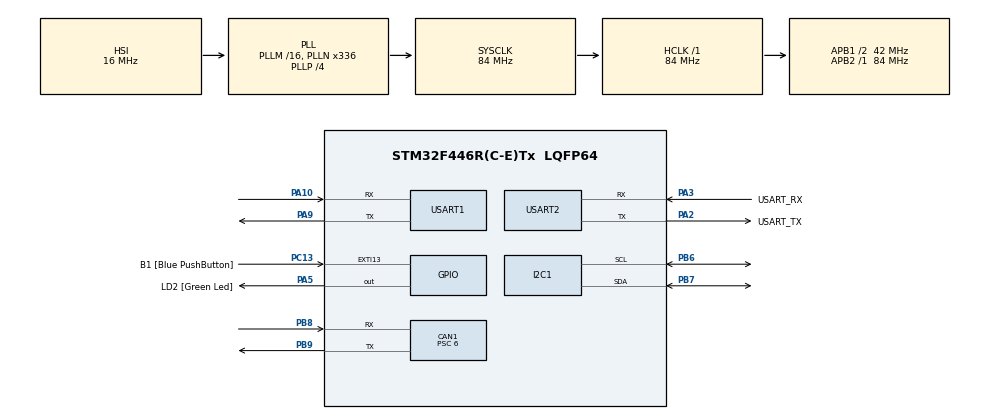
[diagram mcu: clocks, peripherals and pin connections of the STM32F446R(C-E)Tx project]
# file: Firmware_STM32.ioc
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CAN1.BS1=CAN_BS1_11TQ
CAN1.BS2=CAN_BS2_2TQ
CAN1.CalculateBaudRate=500000
CAN1.CalculateTimeBit=2000
CAN1.CalculateTimeQuantum=142.85714285714286
CAN1.Prescaler=6
Mcu.Family=STM32F4
Mcu.Name=STM32F446R(C-E)Tx
Mcu.Package=LQFP64
NVIC.PriorityGroup=NVIC_PRIORITYGROUP_0
NVIC.USART1_IRQn=true\:0\:0\:false\:false\:true\:true\:true\:true
PA10.Mode=Asynchronous
PA10.Signal=USART1_RX
PA13.GPIO_Label=TMS
PA13.Mode=Serial_Wire
PA13.Signal=SYS_JTMS-SWDIO
PA14.GPIO_Label=TCK
PA14.Mode=Serial_Wire
PA14.Signal=SYS_JTCK-SWCLK
PA2.GPIO_Label=USART_TX
PA2.Mode=Asynchronous
PA2.Signal=USART2_TX
PA3.GPIO_Label=USART_RX
PA3.Mode=Asynchronous
PA3.Signal=USART2_RX
PA5.GPIO_Label=LD2 [Green Led]
PA5.Signal=GPIO_Output
PA9.Mode=Asynchronous
PA9.Signal=USART1_TX
PB3.GPIO_Label=SWO
PB3.Signal=SYS_JTDO-SWO
PB6.Mode=I2C
PB6.Signal=I2C1_SCL
PB7.Mode=I2C
PB7.Signal=I2C1_SDA
PB8.Mode=CAN_Activate
PB8.Signal=CAN1_RX
PB9.Mode=CAN_Activate
PB9.Signal=CAN1_TX
PC13.GPIO_Label=B1 [Blue PushButton]
PC13.GPIO_ModeDefaultEXTI=GPIO_MODE_IT_FALLING
PC13.Signal=GPXTI13
PC14-OSC32_IN.Mode=LSE-External-Oscillator
PC14-OSC32_IN.Signal=RCC_OSC32_IN
PC15-OSC32_OUT.Mode=LSE-External-Oscillator
PC15-OSC32_OUT.Signal=RCC_OSC32_OUT
PH0-OSC_IN.Mode=HSE-External-Oscillator
PH0-OSC_IN.Signal=RCC_OSC_IN
PH1-OSC_OUT.Mode=HSE-External-Oscillator
PH1-OSC_OUT.Signal=RCC_OSC_OUT
ProjectManager.HeapSize=0x200
ProjectManager.StackSize=0x400
ProjectManager.TargetToolchain=STM32CubeIDE
RCC.48MHZClocksFreq_Value=84000000
RCC.AHBFreq_Value=84000000
RCC.APB1CLKDivider=RCC_HCLK_DIV2
RCC.APB1Freq_Value=42000000
RCC.APB1TimFreq_Value=84000000
RCC.APB2Freq_Value=84000000
RCC.APB2TimFreq_Value=84000000
RCC.CortexFreq_Value=84000000
RCC.FLatency-AdvancedSettings=FLASH_LATENCY_2
RCC.HCLKFreq_Value=84000000
RCC.HSE_VALUE=8000000
RCC.HSI_VALUE=16000000
RCC.PLLN=336
RCC.PLLP=RCC_PLLP_DIV4
RCC.SYSCLKFreq_VALUE=84000000
RCC.SYSCLKSource=RCC_SYSCLKSOURCE_PLLCLK
RCC.USBFreq_Value=168000000
RCC.VCOOutputFreq_Value=336000000
USART1.VirtualMode=VM_ASYNC
USART2.VirtualMode=VM_ASYNC
board=NUCLEO-F446RE

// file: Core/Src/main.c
/* USER CODE BEGIN Header */
/**
  ******************************************************************************
  * @file           : main.c
  * @brief          : Main program body
  ******************************************************************************
  * @attention
  *
  * Copyright (c) 2025 STMicroelectronics.
  * All rights reserved.
  *
  * This software is licensed under terms that can be found in the LICENSE file
  * in the root directory of this software component.
  * If no LICENSE file comes with this software, it is provided AS-IS.
  *
  ******************************************************************************
  */
/* USER CODE END Header */
#include "main.h"
#include "can.h"
#include "i2c.h"
#include "usart.h"
#include "gpio.h"

/* USER CODE BEGIN Includes */
#include <stdio.h>
#include <string.h>
#include <math.h>
#include "bmp280.h"
#include "mpu9250.h"
#include "stepper.h"
/* USER CODE END Includes */

/* USER CODE BEGIN PV */
uint8_t rxByte;
char rxBuffer[32];
uint8_t rxIndex = 0;
float K_coeff = 1.0f;
/* USER CODE END PV */

void SystemClock_Config(void);
/* USER CODE BEGIN PFP */
void ProcessCommand(void);
/* USER CODE END PFP */

/* USER CODE BEGIN 0 */
int __io_putchar(int ch)
{
	HAL_UART_Transmit(&huart2, (uint8_t*)&ch, 1, HAL_MAX_DELAY);
	return ch;
}

void HAL_UART_RxCpltCallback(UART_HandleTypeDef *huart)
{
  if (huart->Instance == USART1)
  {
    if (rxByte == '\n' || rxByte == '\r')
    {
      rxBuffer[rxIndex] = '\0';
      if (rxIndex > 0)
      {
    	  printf("CMD->%s\r\n",rxBuffer);
    	  ProcessCommand();
      }
      rxIndex = 0;
    }
    else
    {
      if (rxIndex < 31)
      {
        rxBuffer[rxIndex++] = (char)rxByte;
      }
    }
    HAL_UART_Receive_IT(&huart1, &rxByte, 1);
  }
}

void ProcessCommand(void)
{
	char txBuffer[64];
	float temp, press;

	if (strcmp(rxBuffer, "GET_T") == 0)
	{
		BMP280_ReadTemperaturePressure(&temp, &press);
		sprintf(txBuffer, "T=%+06.2f_C\r\n", temp);
		printf(txBuffer);
		HAL_UART_Transmit(&huart1, (uint8_t*)txBuffer, strlen(txBuffer), 100);
	}
	else if (strcmp(rxBuffer, "GET_P") == 0)
	{
		BMP280_ReadTemperaturePressure(&temp, &press);
		sprintf(txBuffer, "P=%06.0fPa\r\n", press);
		printf(txBuffer);
		HAL_UART_Transmit(&huart1, (uint8_t*)txBuffer, strlen(txBuffer), 100);
	}
	else if (strncmp(rxBuffer, "SET_K=", 6) == 0)
	{
		int k_val;
		if (sscanf(rxBuffer + 6, "%d", &k_val) == 1)
		{
			K_coeff = k_val / 100.0f;
			sprintf(txBuffer, "SET_K=OK\r\n");
		}
		else
		{
			sprintf(txBuffer, "SET_K=ERR\r\n");
		}
		printf(txBuffer);
		HAL_UART_Transmit(&huart1, (uint8_t*)txBuffer, strlen(txBuffer), 100);
	}
	else if (strcmp(rxBuffer, "GET_K") == 0)
	{
		sprintf(txBuffer, "K=%08.5f\r\n", K_coeff);
		printf(txBuffer);
		HAL_UART_Transmit(&huart1, (uint8_t*)txBuffer, strlen(txBuffer), 100);
	}
	else if (strcmp(rxBuffer, "GET_A") == 0)
	{
		MPU9250_Data mpu;
		MPU9250_ReadAccel(&mpu);
		float angle = atan2f(mpu.Accel_X, sqrtf(mpu.Accel_Y * mpu.Accel_Y + mpu.Accel_Z * mpu.Accel_Z)) * 180.0f / 3.14159f;
		sprintf(txBuffer, "A=%08.4f\r\n", angle);
		printf(txBuffer);
		HAL_UART_Transmit(&huart1, (uint8_t*)txBuffer, strlen(txBuffer), 100);
	}
}
/* USER CODE END 0 */

int main(void)
{

  /* USER CODE BEGIN 1 */
  /*float temperature, pressure;
  MPU9250_Data mpuData;*/
  /* USER CODE END 1 */

  /* MCU Configuration--------------------------------------------------------*/

  /* Reset of all peripherals, Initializes the Flash interface and the Systick. */
  HAL_Init();

  /* Configure the system clock */
  SystemClock_Config();

  /* Initialize all configured peripherals */
  MX_GPIO_Init();
  MX_USART2_UART_Init();
  MX_I2C1_Init();
  MX_USART1_UART_Init();
  MX_CAN1_Init();
  /* USER CODE BEGIN 2 */
  BMP280_Init();
  HAL_Delay(500);
  MPU9250_Init();

  HAL_UART_Receive_IT(&huart1, &rxByte, 1);
  Stepper_Init(&hcan1);
  /* USER CODE END 2 */

  /* Infinite loop */
  /* USER CODE BEGIN WHILE */
  float temp, press;
  uint8_t angle;
  const float TEMP_TARGET = 20.0f;

  while (1)
  {
    /* USER CODE END WHILE */

    /* USER CODE BEGIN 3 */
	BMP280_ReadTemperaturePressure(&temp, &press);

	float error = TEMP_TARGET - temp;
	float calculated_angle = error * K_coeff;

	// Clamp the angle between 0 (closed) and 90 (fully open)
	if (calculated_angle < 0.0f) {
		calculated_angle = 0.0f;
	} else if (calculated_angle > 90.0f) {
		calculated_angle = 90.0f;
	}

	angle = (uint8_t)calculated_angle;

	printf("Temp: %.2f C | Target: %.2f C | Error: %.2f | Valve Angle: %d\r\n", temp, TEMP_TARGET, error, angle);

	Stepper_SetAngle(angle, STEPPER_SIGN_POS);

    HAL_Delay(1000);
  }
  /* USER CODE END 3 */
}

void SystemClock_Config(void)
{
  RCC_OscInitTypeDef RCC_OscInitStruct = {0};
  RCC_ClkInitTypeDef RCC_ClkInitStruct = {0};

  /** Configure the main internal regulator output voltage
  */
  __HAL_RCC_PWR_CLK_ENABLE();
  __HAL_PWR_VOLTAGESCALING_CONFIG(PWR_REGULATOR_VOLTAGE_SCALE3);

  /** Initializes the RCC Oscillators according to the specified parameters
  * in the RCC_OscInitTypeDef structure.
  */
  RCC_OscInitStruct.OscillatorType = RCC_OSCILLATORTYPE_HSI;
  RCC_OscInitStruct.HSIState = RCC_HSI_ON;
  RCC_OscInitStruct.HSICalibrationValue = RCC_HSICALIBRATION_DEFAULT;
  RCC_OscInitStruct.PLL.PLLState = RCC_PLL_ON;
  RCC_OscInitStruct.PLL.PLLSource = RCC_PLLSOURCE_HSI;
  RCC_OscInitStruct.PLL.PLLM = 16;
  RCC_OscInitStruct.PLL.PLLN = 336;
  RCC_OscInitStruct.PLL.PLLP = RCC_PLLP_DIV4;
  RCC_OscInitStruct.PLL.PLLQ = 2;
  RCC_OscInitStruct.PLL.PLLR = 2;
  if (HAL_RCC_OscConfig(&RCC_OscInitStruct) != HAL_OK)
  {
    Error_Handler();
  }

  /** Initializes the CPU, AHB and APB buses clocks
  */
  RCC_ClkInitStruct.ClockType = RCC_CLOCKTYPE_HCLK|RCC_CLOCKTYPE_SYSCLK
                              |RCC_CLOCKTYPE_PCLK1|RCC_CLOCKTYPE_PCLK2;
  RCC_ClkInitStruct.SYSCLKSource = RCC_SYSCLKSOURCE_PLLCLK;
  RCC_ClkInitStruct.AHBCLKDivider = RCC_SYSCLK_DIV1;
  RCC_ClkInitStruct.APB1CLKDivider = RCC_HCLK_DIV2;
  RCC_ClkInitStruct.APB2CLKDivider = RCC_HCLK_DIV1;

  if (HAL_RCC_ClockConfig(&RCC_ClkInitStruct, FLASH_LATENCY_2) != HAL_OK)
  {
    Error_Handler();
  }
}

void Error_Handler(void)
{
  __disable_irq();
  while (1)
  {
  }
}
